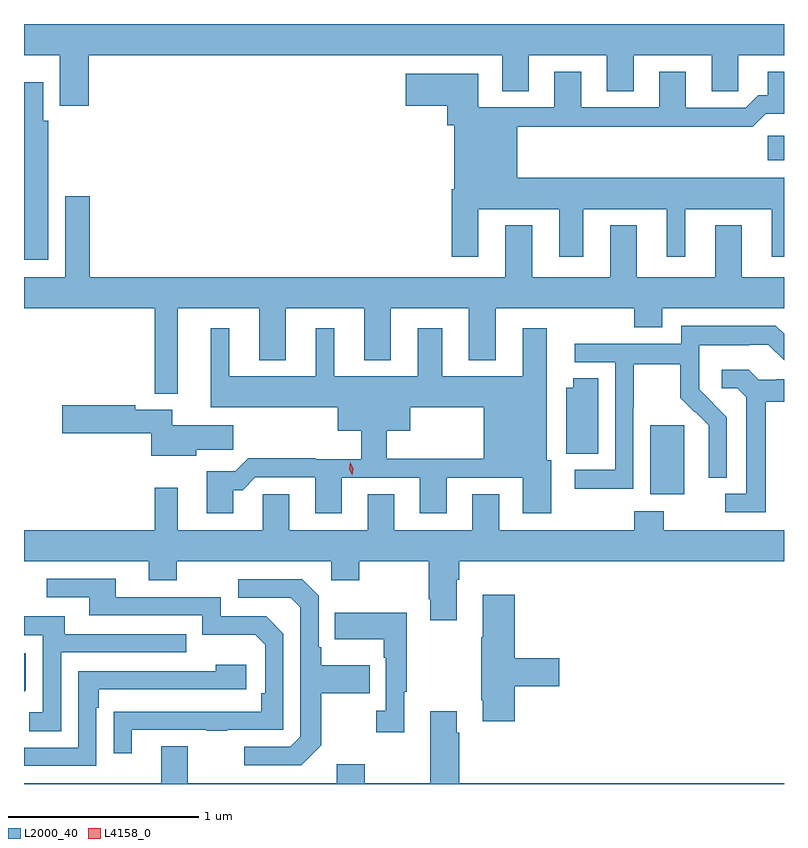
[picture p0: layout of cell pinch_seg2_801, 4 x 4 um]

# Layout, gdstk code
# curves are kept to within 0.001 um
import gdstk
lib = gdstk.Library(unit=1e-6, precision=1e-09)
def R(c, l, rs):  # rectangles x0, y0, x1, y1
    for r in rs: c.add(gdstk.rectangle(r[:2], r[2:], *l))
def P(c, l, *ps):  # polygons
    for p in ps: c.add(gdstk.Polygon(p, *l))
L2000_40 = (2000, 40)
L4158_0 = (4158, 0)

pinch_seg2_801 = lib.new_cell('pinch_seg2_801')
R(pinch_seg2_801, L2000_40, [(637.739,596.042,637.918,596.403), (638.358,597.8,638.443,597.929)])
P(pinch_seg2_801, L2000_40, [(634.784,598.352),(636.959,598.352),(636.959,598.162),(637.099,598.162),(637.099,598.352),(637.511,598.352),(637.511,598.162),(637.651,598.162),(637.651,598.352),(638.063,598.352),(638.063,598.162),(638.202,598.162),(638.202,598.352),(638.443,598.352),(638.443,598.516),(634.443,598.516),(634.443,598.352),(634.631,598.352),(634.631,598.086),(634.784,598.086)],
  [(636.835,597.542),(637.259,597.542),(637.259,597.291),(637.387,597.291),(637.387,597.542),(637.826,597.542),(637.826,597.291),(637.924,597.291),(637.924,597.542),(638.378,597.542),(638.378,597.291),(638.443,597.291),(638.443,597.706),(637.039,597.706),(637.039,597.976),(638.023,597.976),(638.023,597.974),(638.279,597.974),(638.348,598.043),(638.443,598.043),(638.443,598.264),(638.357,598.264),(638.357,598.141),(638.308,598.141),(638.241,598.074),(637.927,598.074),(637.927,598.264),(637.787,598.264),(637.787,598.077),(637.375,598.077),(637.375,598.264),(637.235,598.264),(637.235,598.077),(636.835,598.077),(636.835,598.255),(636.453,598.255),(636.453,598.085),(636.671,598.085),(636.671,597.984),(636.707,597.984),(636.707,597.646),(636.695,597.646),(636.695,597.291),(636.835,597.291)],
  [(634.57,598.008),(634.543,598.008),(634.543,598.21),(634.443,598.21),(634.443,597.275),(634.57,597.275)],
  [(634.79,597.61),(634.661,597.61),(634.661,597.184),(634.443,597.184),(634.443,597.02),(635.13,597.02),(635.13,596.571),(635.251,596.571),(635.251,597.02),(635.681,597.02),(635.681,596.747),(635.821,596.747),(635.821,597.02),(636.233,597.02),(636.233,596.747),(636.373,596.747),(636.373,597.02),(636.785,597.02),(636.785,596.747),(636.925,596.747),(636.925,597.02),(637.654,597.02),(637.654,596.921),(637.801,596.921),(637.801,597.02),(638.443,597.02),(638.443,597.184),(638.221,597.184),(638.221,597.457),(638.081,597.457),(638.081,597.184),(637.669,597.184),(637.669,597.457),(637.529,597.457),(637.529,597.184),(637.117,597.184),(637.117,597.457),(636.977,597.457),(636.977,597.184),(634.79,597.184)],
  [(637.65,596.5),(637.653,596.5),(637.653,596.724),(637.897,596.724),(637.897,596.549),(637.974,596.472),(637.977,596.475),(638.048,596.405),(638.048,596.282),(638.046,596.282),(638.046,596.128),(638.142,596.128),(638.142,596.446),(637.996,596.594),(637.996,596.691),(637.998,596.691),(637.998,596.825),(638.261,596.825),(638.261,596.829),(638.361,596.829),(638.443,596.747),(638.443,596.885),(638.399,596.929),(637.902,596.929),(637.902,596.832),(637.341,596.832),(637.341,596.736),(637.554,596.736),(637.554,596.169),(637.341,596.169),(637.341,596.071),(637.65,596.071)],
  [(635.979,596.224),(635.979,596.231),(635.624,596.231),(635.554,596.161),(635.405,596.161),(635.405,595.941),(635.545,595.941),(635.545,596.063),(635.594,596.063),(635.661,596.13),(635.975,596.13),(635.975,595.941),(636.115,595.941),(636.115,596.127),(636.527,596.127),(636.527,595.941),(636.667,595.941),(636.667,596.127),(637.067,596.127),(637.067,595.941),(637.219,595.941),(637.219,596.22),(637.195,596.22),(637.195,596.914),(637.067,596.914),(637.067,596.662),(636.643,596.662),(636.643,596.914),(636.515,596.914),(636.515,596.662),(636.076,596.662),(636.076,596.914),(635.978,596.914),(635.978,596.662),(635.524,596.662),(635.524,596.914),(635.426,596.914),(635.426,596.498),(636.095,596.498),(636.095,596.375),(636.217,596.375),(636.217,596.228),(636.353,596.228),(636.353,596.375),(636.475,596.375),(636.475,596.498),(636.863,596.498),(636.863,596.228),(636.217,596.228),(636.217,596.224)],
  [(638.347,596.528),(638.443,596.528),(638.443,596.646),(638.404,596.646),(638.404,596.643),(638.31,596.643),(638.258,596.695),(638.115,596.695),(638.115,596.598),(638.196,596.598),(638.243,596.551),(638.243,596.043),(638.133,596.043),(638.133,595.947),(638.347,595.947)],
  [(637.465,596.651),(637.334,596.651),(637.334,596.602),(637.298,596.602),(637.298,596.254),(637.465,596.254)],
  [(635.35,596.275),(635.545,596.275),(635.545,596.404),(635.224,596.404),(635.224,596.485),(635.028,596.485),(635.028,596.51),(634.644,596.51),(634.644,596.363),(635.114,596.363),(635.114,596.243),(635.35,596.243)],
  [(636.721,595.592),(636.734,595.592),(636.734,595.688),(638.443,595.688),(638.443,595.852),(637.809,595.852),(637.809,595.951),(637.654,595.951),(637.654,595.852),(636.943,595.852),(636.943,596.042),(636.803,596.042),(636.803,595.852),(636.391,595.852),(636.391,596.042),(636.251,596.042),(636.251,595.852),(635.839,595.852),(635.839,596.042),(635.7,596.042),(635.7,595.852),(635.251,595.852),(635.251,596.074),(635.13,596.074),(635.13,595.852),(634.443,595.852),(634.443,595.688),(635.099,595.688),(635.099,595.589),(635.247,595.589),(635.247,595.688),(636.06,595.688),(636.06,595.589),(636.207,595.589),(636.207,595.688),(636.574,595.688),(636.574,595.489),(636.581,595.489),(636.581,595.377),(636.721,595.377)],
  [(635.011,594.801),(635.401,594.801),(635.401,594.796),(635.513,594.796),(635.513,594.801),(635.808,594.801),(635.808,595.308),(635.718,595.398),(635.478,595.398),(635.478,595.5),(634.927,595.5),(634.927,595.596),(634.563,595.596),(634.563,595.5),(634.787,595.5),(634.787,595.404),(635.382,595.404),(635.382,595.301),(635.659,595.301),(635.712,595.248),(635.712,594.994),(635.692,594.994),(635.692,594.897),(634.915,594.896),(634.915,594.678),(635.011,594.678)],
  [(636.007,594.721),(636.007,594.994),(636.263,594.994),(636.263,595.141),(636.007,595.141),(636.007,595.237),(635.994,595.237),(635.994,595.506),(635.907,595.593),(635.571,595.593),(635.571,595.497),(635.847,595.497),(635.898,595.446),(635.898,594.765),(635.844,594.711),(635.601,594.711),(635.601,594.615),(635.901,594.615)],
  [(637.025,595.031),(637.261,595.031),(637.261,595.178),(637.025,595.178),(637.025,595.513),(636.857,595.513),(636.857,595.289),(636.85,595.289),(636.85,594.958),(636.857,594.958),(636.857,594.846),(637.025,594.846)],
  [(636.445,595.001),(636.457,595.001),(636.457,595.417),(636.079,595.417),(636.079,595.277),(636.336,595.277),(636.336,595.181),(636.348,595.181),(636.348,594.902),(636.297,594.902),(636.297,594.789),(636.445,594.789)],
  [(634.638,595.209),(635.297,595.209),(635.297,595.305),(634.657,595.305),(634.657,595.399),(634.443,595.399),(634.443,595.299),(634.542,595.299),(634.542,594.894),(634.47,594.894),(634.47,594.793),(634.638,594.793)],
  [(634.452,595.01),(634.452,595.204),(634.443,595.204),(634.443,595.001)],
  [(634.824,594.917),(634.837,594.917),(634.837,595.014),(635.614,595.014),(635.614,595.144),(635.453,595.144),(635.453,595.11),(634.728,595.11),(634.728,594.708),(634.443,594.708),(634.443,594.612),(634.824,594.612)],
  [(638.443,594.52),(636.734,594.52),(636.734,594.785),(636.721,594.785),(636.721,594.898),(636.581,594.898),(636.581,594.52),(636.237,594.52),(636.237,594.619),(636.089,594.619),(636.089,594.52),(635.305,594.52),(635.305,594.715),(635.165,594.715),(635.165,594.52),(634.443,594.52),(634.443,594.516),(638.443,594.516)])
P(pinch_seg2_801, L4158_0, [(636.17,596.14),(636.17,596.14),(636.155,596.173),(636.16,596.209),(636.16,596.21),(636.16,596.209),(636.175,596.176),(636.171,596.14)])

lib.write_gds('pinch_seg2_801.gds')
